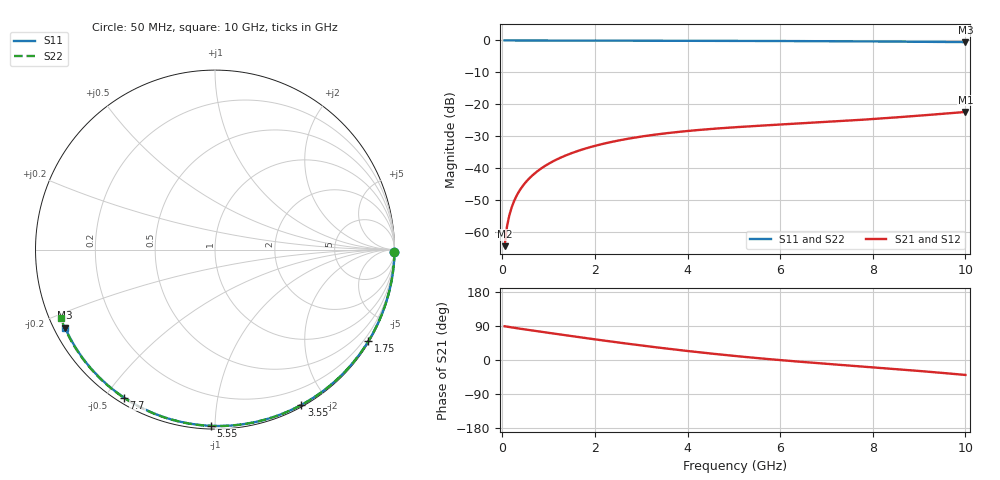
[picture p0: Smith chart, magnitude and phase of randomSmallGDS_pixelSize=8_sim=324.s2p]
! freq	dB(S11)	phase(S11)	dB(S12)	phase(S12)
!  dB(S21)	phase(S21)	dB(S22)	phase(S22)
!S-par simulation data
#  GHz  S  DB  R 50
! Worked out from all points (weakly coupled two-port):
!   200 points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, 50 MHz to 10 GHz, reference 50 ohm
!   highest |S21| = -22.36 dB at 10 GHz (marker M1); lowest = -64.3 dB at 50 MHz (marker M2)
!   lowest |S11| = -0.5 dB at 10 GHz (marker M3), VSWR 33.32, Z = 1.59 - j12.2 ohm
!   |S11| at or under -10 dB: nowhere
!   |S22| runs from -0.5 to 0.0 dB; largest |S21 - S12| = 0
!   S11 on the Smith chart (normalised r, x): 50 MHz: open; 1.75 GHz: 0.03, -3.62; 3.55 GHz: 0.02, -1.70; 5.55 GHz: 0.02, -0.97; 7.7 GHz: 0.02, -0.56; 10 GHz: 0.03, -0.24
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0.05  -0.00 -0.9  -64.33 89.0  -64.33 89.0  -0.00 -0.9
0.1  -0.00 -1.8  -58.31 88.0  -58.31 88.0  -0.00 -1.9
0.15  -0.00 -2.7  -54.80 87.0  -54.80 87.0  -0.00 -2.8
0.2  -0.00 -3.6  -52.31 86.1  -52.31 86.1  -0.00 -3.7
0.25  -0.00 -4.5  -50.39 85.1  -50.39 85.1  -0.00 -4.6
0.35  -0.00 -6.3  -47.49 83.2  -47.49 83.2  -0.00 -6.5
0.5  -0.01 -9.0  -44.44 80.5  -44.44 80.5  -0.01 -9.2
0.7  -0.01 -12.5  -41.57 77.0  -41.57 77.0  -0.01 -12.9
1  -0.02 -17.8  -38.56 71.7  -38.56 71.7  -0.02 -18.3
1.35  -0.03 -23.9  -36.08 65.6  -36.08 65.6  -0.03 -24.6
1.75  -0.04 -30.9  -34.00 58.7  -34.00 58.7  -0.04 -31.7
2.5  -0.06 -43.6  -31.31 46.3  -31.31 46.3  -0.06 -44.8
3.4  -0.08 -58.5  -29.26 32.3  -29.26 32.3  -0.08 -60.0
3.55  -0.09 -60.9  -29.00 30.1  -29.00 30.1  -0.09 -62.5
4.3  -0.11 -72.7  -27.92 19.7  -27.92 19.7  -0.11 -74.6
5.05  -0.14 -84.1  -27.12 10.3  -27.12 10.3  -0.14 -86.2
5.55  -0.16 -91.5  -26.67 4.6  -26.67 4.6  -0.16 -93.7
6.7  -0.22 -107.8  -25.73 -7.2  -25.73 -7.2  -0.22 -110.4
7.7  -0.29 -121.6  -24.86 -16.5  -24.86 -16.5  -0.29 -124.4
8.35  -0.34 -130.3  -24.22 -22.6  -24.22 -22.6  -0.35 -133.4
9.2  -0.43 -141.7  -23.29 -30.9  -23.29 -30.9  -0.43 -145.0
10  -0.52 -152.5  -22.36 -39.4  -22.36 -39.4  -0.53 -156.1
